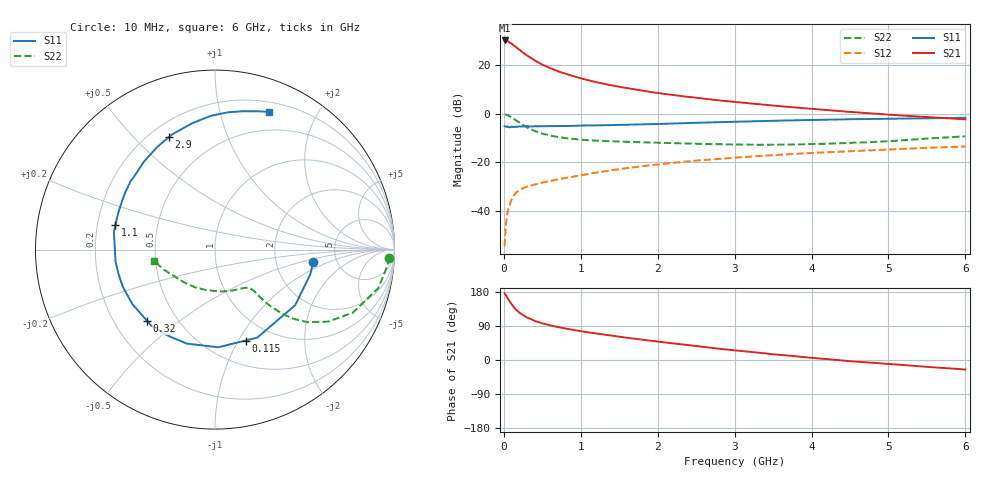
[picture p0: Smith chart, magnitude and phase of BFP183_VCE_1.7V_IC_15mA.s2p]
! Infineon Technologies  Discrete & RF Semiconductors
! BFP183
! VCE = 1.7 V,  IC =  15 mA
! Common Emitter S-Parameters:  Jan 2016
# GHz  S  MA  R  50
!  f  S11  S21  S12  S22
! GHz  MAG  ANG  MAG  ANG  MAG  ANG  MAG  ANG
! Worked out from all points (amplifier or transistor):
!   210 points, 10 MHz to 6 GHz, reference 50 ohm
!   highest |S21| = 30.1 dB at 10 MHz (marker M1)
!   |S21| within 3 dB of that: start of sweep to 169.5 MHz
!   unconditionally stable (mu >= 1): 872.7 MHz to 5.726 GHz
!   at 185 MHz: K = 0.34, MSG = 29.2 dB, |S12| = -31.8 dB
!   at 1.52 GHz: K = 1.16, MAG = 14.4 dB, |S12| = -22.7 dB
!   at 6 GHz: K = 0.96, MSG = 5.6 dB, |S12| = -13.5 dB
!   S11 on the Smith chart (normalised r, x): 10 MHz: 3.31, -0.66; 115 MHz: 0.76, -1.07; 320 MHz: 0.34, -0.39; 1.1 GHz: 0.28, +0.11; 2.9 GHz: 0.27, +0.63; 6 GHz: 0.30, +1.42
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0.01  0.5512 -7.2  31.88 176.4  0.0019 80.8  0.973 -2.6
0.02  0.5487 -14.5  31.81 173.1  0.0039 84.7  0.9646 -5.4
0.05  0.5436 -34.7  30.89 162.2  0.0097 78.8  0.9349 -13.3
0.1  0.5439 -64.3  27.47 146.9  0.0172 64.1  0.8444 -24.6
0.115  0.5344 -71.4  26.28 143.5  0.0189 61.4  0.8131 -26.8
0.15  0.5446 -88.0  23.9 134.5  0.0231 56.7  0.7454 -32.6
0.2  0.5468 -106.6  20.67 125.1  0.0269 52.1  0.6544 -38.1
0.26  0.5474 -121.7  17.4 116.8  0.03 48.3  0.5693 -41.9
0.32  0.5487 -133.5  15.02 110.7  0.0326 46.7  0.5066 -43.9
0.4  0.5511 -146.4  12.43 103.1  0.0352 45.5  0.4413 -45.6
0.5  0.5542 -157.9  10.16 96.6  0.0384 44.7  0.3887 -46.4
0.6  0.5546 -166.0  8.665 91.4  0.0415 45.7  0.3553 -46.6
0.8  0.5579 -179.6  6.596 83.0  0.0477 47.4  0.315 -46.8
1.02  0.5714 169.4  5.21 75.5  0.055 48.7  0.2909 -47.9
1.1  0.5716 166.2  4.846 72.8  0.058 48.9  0.2845 -48.5
1.5  0.586 151.3  3.564 61.4  0.0722 49.4  0.2676 -53.1
2.02  0.6138 134.4  2.628 48.2  0.0913 47.4  0.2529 -62.4
2.9  0.6768 112.4  1.803 27.6  0.1218 41.1  0.2335 -84.3
3.1  0.6897 108.1  1.679 23.6  0.1282 39.5  0.2304 -90.2
4.1  0.7489 90.4  1.221 4.1  0.1584 31.4  0.2393 -121.7
5.1  0.7889 77.7  0.932 -11.8  0.1852 24.1  0.278 -149.9
6  0.8236 68.7  0.765 -25.2  0.2117 15.6  0.3438 -169.7
